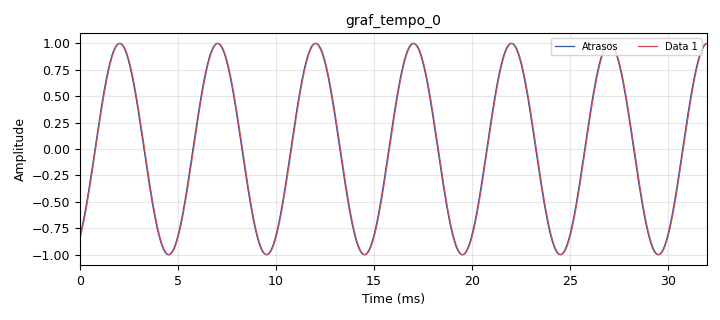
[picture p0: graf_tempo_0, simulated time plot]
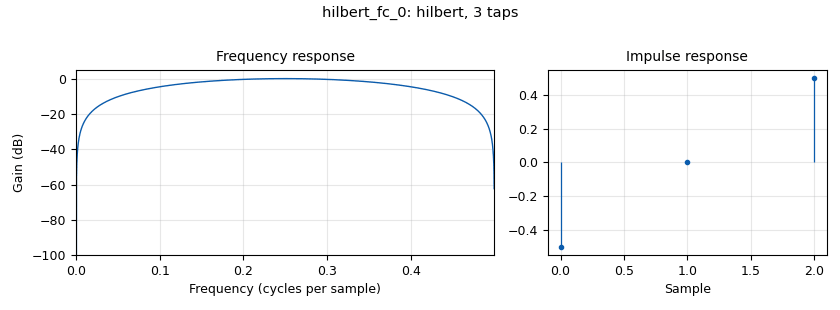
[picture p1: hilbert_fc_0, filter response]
<?xml version='1.0' encoding='utf-8'?>
<?grc format='1' created='3.7.13'?>
<flow_graph>
<block>
<key>options</key>
<param><key>id</key><value>top_block</value></param>
<param><key>generate_options</key><value>qt_gui</value></param>
</block>
<block>
<key>variable</key>
<param><key>id</key><value>samp_rate</value></param>
<param><key>value</key><value>32000</value></param>
</block>
<block>
<key>blocks_complex_to_real</key>
<param><key>id</key><value>blocks_complex_to_real_0</value></param>
</block>
<block>
<key>blocks_throttle</key>
<param><key>id</key><value>blocks_throttle_0</value></param>
<param><key>samples_per_second</key><value>samp_rate</value></param>
<param><key>type</key><value>float</value></param>
</block>
<block>
<key>analog_sig_source_x</key>
<param><key>id</key><value>fundamental</value></param>
<param><key>amp</key><value>1.0</value></param>
<param><key>freq</key><value>200</value></param>
<param><key>offset</key><value>0</value></param>
<param><key>type</key><value>float</value></param>
<param><key>samp_rate</key><value>samp_rate</value></param>
<param><key>waveform</key><value>analog.GR_COS_WAVE</value></param>
</block>
<block>
<key>qtgui_time_sink_x</key>
<param><key>id</key><value>graf_tempo_0</value></param>
<param><key>autoscale</key><value>True</value></param>
<param><key>grid</key><value>True</value></param>
<param><key>color1</key><value>"blue"</value></param>
<param><key>label1</key><value>Atrasos</value></param>
<param><key>color2</key><value>"red"</value></param>
<param><key>label2</key><value></value></param>
<param><key>nconnections</key><value>2</value></param>
<param><key>size</key><value>1024</value></param>
<param><key>srate</key><value>samp_rate</value></param>
<param><key>type</key><value>float</value></param>
</block>
<block>
<key>hilbert_fc</key>
<param><key>id</key><value>hilbert_fc_0</value></param>
<param><key>num_taps</key><value>2</value></param>
<param><key>win</key><value>firdes.WIN_HAMMING</value></param>
</block>
<connection><source_block_id>blocks_complex_to_real_0</source_block_id><sink_block_id>graf_tempo_0</sink_block_id><source_key>0</source_key><sink_key>1</sink_key></connection>
<connection><source_block_id>blocks_throttle_0</source_block_id><sink_block_id>graf_tempo_0</sink_block_id><source_key>0</source_key><sink_key>0</sink_key></connection>
<connection><source_block_id>fundamental</source_block_id><sink_block_id>blocks_throttle_0</sink_block_id><source_key>0</source_key><sink_key>0</sink_key></connection>
<connection><source_block_id>fundamental</source_block_id><sink_block_id>hilbert_fc_0</sink_block_id><source_key>0</source_key><sink_key>0</sink_key></connection>
<connection><source_block_id>hilbert_fc_0</source_block_id><sink_block_id>blocks_complex_to_real_0</sink_block_id><source_key>0</source_key><sink_key>0</sink_key></connection>
</flow_graph>
